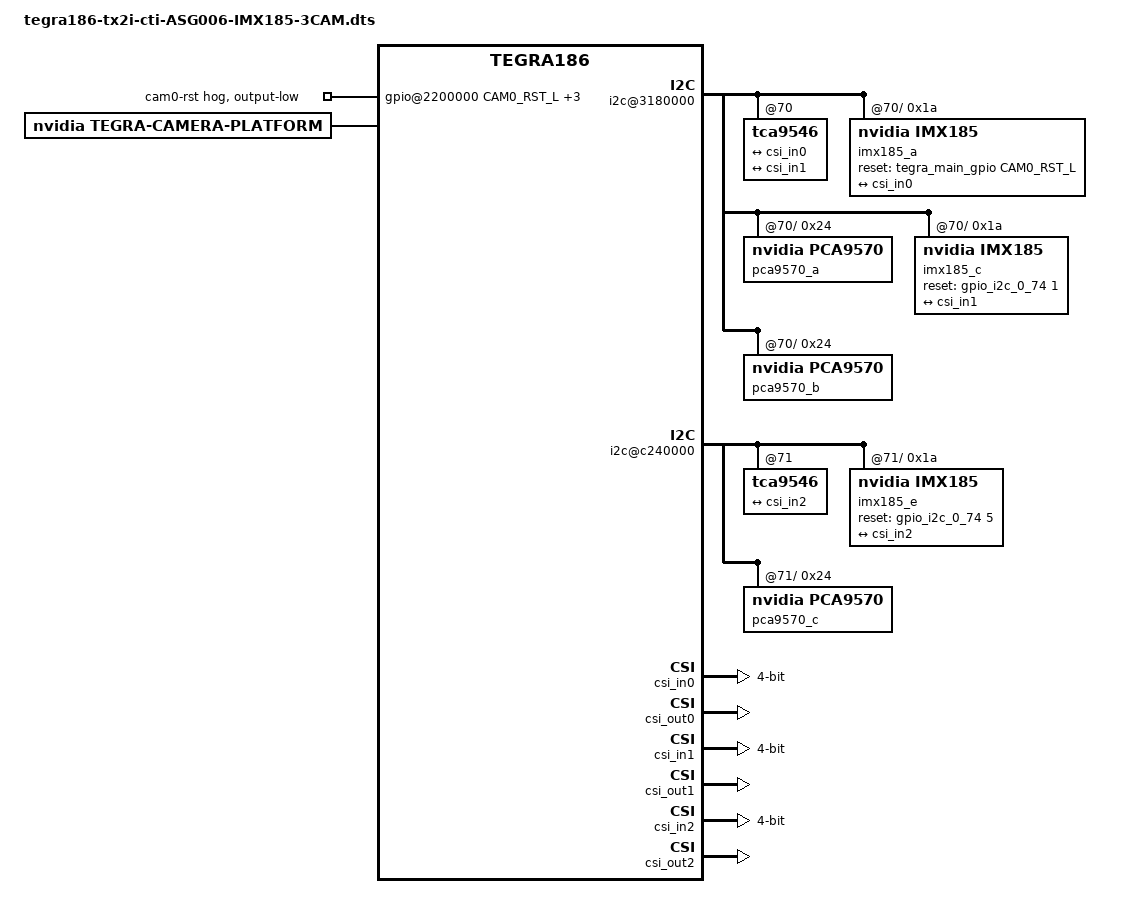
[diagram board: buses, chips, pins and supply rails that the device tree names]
#include <tegra186-tx2i-cti-ASG006-base.dts>

    

#include <t18x-common-platforms/tegra186-tx2-cti-camera-base.dtsi>
#include "dt-bindings/clock/tegra186-clock.h"


/* camera control gpio definitions */

#define CAM0_RST_L  TEGRA_MAIN_GPIO(R, 5)
#define CAM0_PWDN   TEGRA_MAIN_GPIO(R, 0)
#define CAM1_RST_L  TEGRA_MAIN_GPIO(R, 1)
#define CAM1_PWDN   TEGRA_MAIN_GPIO(N, 2)


/ {

    nvidia,dtsfilename = "tegra186-tx2i-cti-ASG006-IMX185-3CAM.dts";
    
    gpio@2200000 {
        camera-control-output-low {
            gpio-hog;
            output-low;
            gpios = <CAM0_RST_L 0 CAM0_PWDN 0
                 CAM1_RST_L 0 CAM1_PWDN 0>;
            label = "cam0-rst", "cam0-pwdn",
                "cam1-rst", "cam1-pwdn";
        };
    };


/**********************SENSORS******************************************************************/

	i2c@3180000 {       //set this to correct i2c bus 
        tca9546@70 {    
            i2c@0{  //cam_i2c/Mux@70/I2C_A
                #address-cells = <1>;
                #size-cells = <0>;

                imx185_a@1a {
                    compatible = "nvidia,imx185";
                    reg = <0x1a>;
                    devnode = "video0";

                    /* Physical dimensions of sensor */
                    physical_w = "15.0";
					physical_h = "12.5";
                    clocks = <&tegra_car TEGRA186_CLK_EXTPERIPH1>,
                             <&tegra_car TEGRA186_CLK_PLLP_OUT0>;
                    clock-names = "extperiph1", "pllp_grtba";
                    mclk = "extperiph1";
                    sensor_model = "imx185";
                    delayed_gain = "true";
                    reset-gpios = <&tegra_main_gpio CAM0_RST_L GPIO_ACTIVE_HIGH>;                    
					post_crop_frame_drop = "0";
                    use_decibel_gain = "true";
					
                    mode0 {/*mode IMX185_MODE_1920X1080_CROP_30FPS*/
						mclk_khz = "37125";
						num_lanes = "4";
						tegra_sinterface = "serial_a";
						phy_mode = "DPHY";
						discontinuous_clk = "no";
						dpcm_enable = "false";
						cil_settletime = "0";
						dynamic_pixel_bit_depth = "12";
						csi_pixel_bit_depth = "12";
						mode_type = "bayer";
						pixel_phase = "rggb";

						active_w = "1920";
						active_h = "1080";
						readout_orientation = "0";
						line_length = "2200";
						inherent_gain = "1";
						mclk_multiplier = "2";
						pix_clk_hz = "74250000";

						gain_factor = "10";
						min_gain_val = "0"; /* 0dB */
						max_gain_val = "480"; /* 48dB */
						step_gain_val = "3"; /* 0.3 */
						default_gain = "0";
						min_hdr_ratio = "1";
						max_hdr_ratio = "1";
						framerate_factor = "1000000";
						min_framerate = "1500000"; /* 1.5 */
						max_framerate = "30000000"; /* 30 */
						step_framerate = "1";
						default_framerate = "30000000";
						exposure_factor = "1000000";
						min_exp_time = "30"; /* us */
						max_exp_time = "660000"; /* us */
						step_exp_time = "1";
						default_exp_time = "33334";/* us */
						embedded_metadata_height = "1";
					};
					mode1 {/*mode IMX185_MODE_1920X1080_CROP_10BIT_30FPS*/
						mclk_khz = "37125";
						num_lanes = "4";
						tegra_sinterface = "serial_a";
						phy_mode = "DPHY";
						discontinuous_clk = "no";
						dpcm_enable = "false";
						cil_settletime = "0";
						dynamic_pixel_bit_depth = "10";
						csi_pixel_bit_depth = "10";
						mode_type = "bayer";
						pixel_phase = "rggb";

						active_w = "1920";
						active_h = "1080";
						readout_orientation = "0";
						line_length = "2640";
						inherent_gain = "1";
						mclk_multiplier = "2.4";
						pix_clk_hz = "89100000";

						gain_factor = "10";
						min_gain_val = "0"; /* 0dB */
						max_gain_val = "480"; /* 48dB */
						step_gain_val = "3"; /* 0.3 */
						default_gain ="0";
						min_hdr_ratio = "1";
						max_hdr_ratio = "1";
						framerate_factor = "1000000";
						min_framerate = "1500000"; /* 1.5 */
						max_framerate = "30000000"; /* 30 */
						step_framerate = "1";
						default_framerate = "30000000";
						exposure_factor = "1000000";
						min_exp_time = "30"; /* us */
						max_exp_time = "660000"; /* us */
						step_exp_time = "1";
						default_exp_time = "33334";/* us */
						embedded_metadata_height = "1";
					};

					mode2 {/*mode IMX185_MODE_1920X1080_CROP_60FPS*/
						mclk_khz = "37125";
						num_lanes = "4";
						tegra_sinterface = "serial_a";
						phy_mode = "DPHY";
						discontinuous_clk = "no";
						dpcm_enable = "false";
						cil_settletime = "0";
						dynamic_pixel_bit_depth = "12";
						csi_pixel_bit_depth = "12";
						mode_type = "bayer";
						pixel_phase = "rggb";

						active_w = "1920";
						active_h = "1080";
						readout_orientation = "0";
						line_length = "2200";
						inherent_gain = "1";
						mclk_multiplier = "4";
						pix_clk_hz = "148500000";

						gain_factor = "10";
						min_gain_val = "0"; /* 0dB */
						max_gain_val = "480"; /* 48dB */
						step_gain_val = "3"; /* 0.3 */
						default_gain = "0";
						min_hdr_ratio = "1";
						max_hdr_ratio = "1";
						framerate_factor = "1000000";
						min_framerate = "1500000"; /* 1.5 */
						max_framerate = "60000000"; /* 60 */
						step_framerate = "1";
						default_framerate = "60000000";
						exposure_factor = "1000000";
						min_exp_time = "30"; /* us */
						max_exp_time = "660000"; /* us */
						step_exp_time = "1";
						default_exp_time = "16667";/* us */
						embedded_metadata_height = "1";
					};

					mode3 {/*mode IMX185_MODE_1920X1080_CROP_10BIT_60FPS*/
						mclk_khz = "37125";
						num_lanes = "4";
						tegra_sinterface = "serial_a";
						phy_mode = "DPHY";
						discontinuous_clk = "no";
						dpcm_enable = "false";
						cil_settletime = "0";
						dynamic_pixel_bit_depth = "10";
						csi_pixel_bit_depth = "10";
						mode_type = "bayer";
						pixel_phase = "rggb";

						active_w = "1920";
						active_h = "1080";
						readout_orientation = "0";
						line_length = "2640";
						inherent_gain = "1";
						mclk_multiplier = "4.8";
						pix_clk_hz = "178200000";

						gain_factor = "10";
						min_gain_val = "0"; /* 0dB */
						max_gain_val = "480"; /* 48dB */
						step_gain_val = "3"; /* 0.3 */
						default_gain = "0";
						min_hdr_ratio = "1";
						max_hdr_ratio = "1";
						framerate_factor = "1000000";
						min_framerate = "1500000"; /* 1.5 */
						max_framerate = "60000000"; /* 60 */
						step_framerate = "1";
						default_framerate = "60000000";
						exposure_factor = "1000000";
						min_exp_time = "30"; /* us */
						max_exp_time = "660000"; /* us */
						step_exp_time = "1";
						default_exp_time = "16667";/* us */
						embedded_metadata_height = "1";
					};
					mode4 {/*mode IMX185_MODE_1920X1080_CROP_HDR_30FPS*/
						mclk_khz = "37125";
						num_lanes = "4";
						tegra_sinterface = "serial_a";
						phy_mode = "DPHY";
						discontinuous_clk = "no";
						dpcm_enable = "false";
						cil_settletime = "0";
						dynamic_pixel_bit_depth = "16";
						csi_pixel_bit_depth = "12";
						mode_type = "bayer_wdr_pwl";
						pixel_phase = "rggb";

						active_w = "1920";
						active_h = "1080";
						readout_orientation = "0";
						line_length = "2200";
						inherent_gain = "1";
						mclk_multiplier = "2";
						pix_clk_hz = "74250000";

						gain_factor = "10";
						min_gain_val = "0"; /* 0dB */
						max_gain_val = "120"; /* 12dB */
						step_gain_val = "3"; /* 0.3 */
						default_gain = "0";
						min_hdr_ratio = "16";
						max_hdr_ratio = "16";
						framerate_factor = "1000000";
						min_framerate = "1500000"; /* 1.5 */
						max_framerate = "30000000"; /* 30 */
						step_framerate = "1";
						default_framerate= "30000000";
						exposure_factor = "1000000";
						min_exp_time = "2433"; /* us */
						max_exp_time = "660000"; /* us */
						step_exp_time = "1";
						default_exp_time = "33334";/* us */
						embedded_metadata_height = "1";

						/* WDR related settings */
						num_control_point = "4";
						control_point_x_0 = "0";
						control_point_x_1 = "2048";
						control_point_x_2 = "16384";
						control_point_x_3 = "65536";
						control_point_y_0 = "0";
						control_point_y_1 = "2048";
						control_point_y_2 = "2944";
						control_point_y_3 = "3712";
					};                    

                    ports {
                        #address-cells = <1>;
                        #size-cells = <0>;

                        port@0 {
                            reg = <0>;
                            imx185_out0: endpoint {
                                port-index = <0>;
                                bus-width = <4>;
                                remote-endpoint = <&csi_in0>;
                            };
                        };
                    };
                };
                pca9570_a@24 {
                    compatible = "nvidia,pca9570";
                    reg = <0x24>;
                    channel = "a";
                    drive_ic= "DRV8838";
                };



            };
            i2c@2 {
                #address-cells = <1>;
                #size-cells = <0>;
                imx185_c@1a {
                    compatible = "nvidia,imx185";
                    reg = <0x1a>;
                    devnode = "video1";

                    /* Physical dimensions of sensor */
                    physical_w = "15.0";
					physical_h = "12.5";

                    /* Define any required hw resources needed by driver */
                    /* ie. clocks, io pins, power sources */
                    clocks = <&tegra_car TEGRA186_CLK_EXTPERIPH2>,
                         <&tegra_car TEGRA186_CLK_PLLP_OUT0>;
                    clock-names = "extperiph2", "pllp_grtba";
                    mclk = "extperiph2";
                    reset-gpios = <&gpio_i2c_0_74 1 GPIO_ACTIVE_HIGH>;                   
					post_crop_frame_drop = "0";
                    use_decibel_gain = "true";

                    mode0 {/*mode IMX185_MODE_1920X1080_CROP_30FPS*/
						mclk_khz = "37125";
						num_lanes = "4";
						tegra_sinterface = "serial_c";
						phy_mode = "DPHY";
						discontinuous_clk = "no";
						dpcm_enable = "false";
						cil_settletime = "0";
						dynamic_pixel_bit_depth = "12";
						csi_pixel_bit_depth = "12";
						mode_type = "bayer";
						pixel_phase = "rggb";

						active_w = "1920";
						active_h = "1080";
						readout_orientation = "0";
						line_length = "2200";
						inherent_gain = "1";
						mclk_multiplier = "2";
						pix_clk_hz = "74250000";

						gain_factor = "10";
						min_gain_val = "0"; /* 0dB */
						max_gain_val = "480"; /* 48dB */
						step_gain_val = "3"; /* 0.3 */
						default_gain = "0";
						min_hdr_ratio = "1";
						max_hdr_ratio = "1";
						framerate_factor = "1000000";
						min_framerate = "1500000"; /* 1.5 */
						max_framerate = "30000000"; /* 30 */
						step_framerate = "1";
						default_framerate = "30000000";
						exposure_factor = "1000000";
						min_exp_time = "30"; /* us */
						max_exp_time = "660000"; /* us */
						step_exp_time = "1";
						default_exp_time = "33334";/* us */
						embedded_metadata_height = "1";
					};
					mode1 {/*mode IMX185_MODE_1920X1080_CROP_10BIT_30FPS*/
						mclk_khz = "37125";
						num_lanes = "4";
						tegra_sinterface = "serial_c";
						phy_mode = "DPHY";
						discontinuous_clk = "no";
						dpcm_enable = "false";
						cil_settletime = "0";
						dynamic_pixel_bit_depth = "10";
						csi_pixel_bit_depth = "10";
						mode_type = "bayer";
						pixel_phase = "rggb";

						active_w = "1920";
						active_h = "1080";
						readout_orientation = "0";
						line_length = "2640";
						inherent_gain = "1";
						mclk_multiplier = "2.4";
						pix_clk_hz = "89100000";

						gain_factor = "10";
						min_gain_val = "0"; /* 0dB */
						max_gain_val = "480"; /* 48dB */
						step_gain_val = "3"; /* 0.3 */
						default_gain ="0";
						min_hdr_ratio = "1";
						max_hdr_ratio = "1";
						framerate_factor = "1000000";
						min_framerate = "1500000"; /* 1.5 */
						max_framerate = "30000000"; /* 30 */
						step_framerate = "1";
						default_framerate = "30000000";
						exposure_factor = "1000000";
						min_exp_time = "30"; /* us */
						max_exp_time = "660000"; /* us */
						step_exp_time = "1";
						default_exp_time = "33334";/* us */
						embedded_metadata_height = "1";
					};

					mode2 {/*mode IMX185_MODE_1920X1080_CROP_60FPS*/
						mclk_khz = "37125";
						num_lanes = "4";
						tegra_sinterface = "serial_c";
						phy_mode = "DPHY";
						discontinuous_clk = "no";
						dpcm_enable = "false";
						cil_settletime = "0";
						dynamic_pixel_bit_depth = "12";
						csi_pixel_bit_depth = "12";
						mode_type = "bayer";
						pixel_phase = "rggb";

						active_w = "1920";
						active_h = "1080";
						readout_orientation = "0";
						line_length = "2200";
						inherent_gain = "1";
						mclk_multiplier = "4";
						pix_clk_hz = "148500000";

						gain_factor = "10";
						min_gain_val = "0"; /* 0dB */
						max_gain_val = "480"; /* 48dB */
						step_gain_val = "3"; /* 0.3 */
						default_gain = "0";
						min_hdr_ratio = "1";
						max_hdr_ratio = "1";
						framerate_factor = "1000000";
						min_framerate = "1500000"; /* 1.5 */
						max_framerate = "60000000"; /* 60 */
						step_framerate = "1";
						default_framerate = "60000000";
						exposure_factor = "1000000";
						min_exp_time = "30"; /* us */
						max_exp_time = "660000"; /* us */
						step_exp_time = "1";
						default_exp_time = "16667";/* us */
						embedded_metadata_height = "1";
					};

					mode3 {/*mode IMX185_MODE_1920X1080_CROP_10BIT_60FPS*/
						mclk_khz = "37125";
						num_lanes = "4";
						tegra_sinterface = "serial_c";
						phy_mode = "DPHY";
						discontinuous_clk = "no";
						dpcm_enable = "false";
						cil_settletime = "0";
						dynamic_pixel_bit_depth = "10";
						csi_pixel_bit_depth = "10";
						mode_type = "bayer";
						pixel_phase = "rggb";

						active_w = "1920";
						active_h = "1080";
						readout_orientation = "0";
						line_length = "2640";
						inherent_gain = "1";
						mclk_multiplier = "4.8";
						pix_clk_hz = "178200000";

						gain_factor = "10";
						min_gain_val = "0"; /* 0dB */
						max_gain_val = "480"; /* 48dB */
						step_gain_val = "3"; /* 0.3 */
						default_gain = "0";
						min_hdr_ratio = "1";
						max_hdr_ratio = "1";
						framerate_factor = "1000000";
						min_framerate = "1500000"; /* 1.5 */
						max_framerate = "60000000"; /* 60 */
						step_framerate = "1";
						default_framerate = "60000000";
						exposure_factor = "1000000";
						min_exp_time = "30"; /* us */
						max_exp_time = "660000"; /* us */
						step_exp_time = "1";
						default_exp_time = "16667";/* us */
						embedded_metadata_height = "1";
					};
					mode4 {/*mode IMX185_MODE_1920X1080_CROP_HDR_30FPS*/
						mclk_khz = "37125";
						num_lanes = "4";
						tegra_sinterface = "serial_c";
						phy_mode = "DPHY";
						discontinuous_clk = "no";
						dpcm_enable = "false";
						cil_settletime = "0";
						dynamic_pixel_bit_depth = "16";
						csi_pixel_bit_depth = "12";
						mode_type = "bayer_wdr_pwl";
						pixel_phase = "rggb";

						active_w = "1920";
						active_h = "1080";
						readout_orientation = "0";
						line_length = "2200";
						inherent_gain = "1";
						mclk_multiplier = "2";
						pix_clk_hz = "74250000";

						gain_factor = "10";
						min_gain_val = "0"; /* 0dB */
						max_gain_val = "120"; /* 12dB */
						step_gain_val = "3"; /* 0.3 */
						default_gain = "0";
						min_hdr_ratio = "16";
						max_hdr_ratio = "16";
						framerate_factor = "1000000";
						min_framerate = "1500000"; /* 1.5 */
						max_framerate = "30000000"; /* 30 */
						step_framerate = "1";
						default_framerate= "30000000";
						exposure_factor = "1000000";
						min_exp_time = "2433"; /* us */
						max_exp_time = "660000"; /* us */
						step_exp_time = "1";
						default_exp_time = "33334";/* us */
						embedded_metadata_height = "1";

						/* WDR related settings */
						num_control_point = "4";
						control_point_x_0 = "0";
						control_point_x_1 = "2048";
						control_point_x_2 = "16384";
						control_point_x_3 = "65536";
						control_point_y_0 = "0";
						control_point_y_1 = "2048";
						control_point_y_2 = "2944";
						control_point_y_3 = "3712";
					};

                    
                    ports {
                        #address-cells = <1>;
                        #size-cells = <0>;

                        port@0 {
                            reg = <0>;
                            imx185_out2: endpoint {
                                port-index = <2>;
                                bus-width = <4>;
                                remote-endpoint = <&csi_in1>;
                            };
                        };
                    };
                };

                pca9570_b@24 {
                    compatible = "nvidia,pca9570";
                    reg = <0x24>;
                    channel = "b";
                    drive_ic= "DRV8838";
                };


            };
        };
	};
   i2c@c240000 {
        tca9546@71{
            i2c@1 {
                #address-cells = <1>;
                #size-cells = <0>;
                imx185_e@1a {
                    compatible = "nvidia,imx185";
                    reg = <0x1a>;
                    devnode = "video2";
                    /* Physical dimensions of sensor */

                    physical_w = "15.0";
					physical_h = "12.5";
                    /* Define any required hw resources needed by driver */
                    /* ie. clocks, io pins, power sources */
                    clocks = <&tegra_car TEGRA186_CLK_EXTPERIPH1>,
                             <&tegra_car TEGRA186_CLK_PLLP_OUT0>;
                    clock-names = "extperiph1", "pllp_grtba";
                    mclk = "extperiph1";
                    reset-gpios = <&gpio_i2c_0_74 5 GPIO_ACTIVE_HIGH>;
					post_crop_frame_drop = "0";
                    use_decibel_gain = "true";
                    

                    mode0 {/*mode IMX185_MODE_1920X1080_CROP_30FPS*/
						mclk_khz = "37125";
						num_lanes = "4";
						tegra_sinterface = "serial_e";
						phy_mode = "DPHY";
						discontinuous_clk = "no";
						dpcm_enable = "false";
						cil_settletime = "0";
						dynamic_pixel_bit_depth = "12";
						csi_pixel_bit_depth = "12";
						mode_type = "bayer";
						pixel_phase = "rggb";

						active_w = "1920";
						active_h = "1080";
						readout_orientation = "0";
						line_length = "2200";
						inherent_gain = "1";
						mclk_multiplier = "2";
						pix_clk_hz = "74250000";

						gain_factor = "10";
						min_gain_val = "0"; /* 0dB */
						max_gain_val = "480"; /* 48dB */
						step_gain_val = "3"; /* 0.3 */
						default_gain = "0";
						min_hdr_ratio = "1";
						max_hdr_ratio = "1";
						framerate_factor = "1000000";
						min_framerate = "1500000"; /* 1.5 */
						max_framerate = "30000000"; /* 30 */
						step_framerate = "1";
						default_framerate = "30000000";
						exposure_factor = "1000000";
						min_exp_time = "30"; /* us */
						max_exp_time = "660000"; /* us */
						step_exp_time = "1";
						default_exp_time = "33334";/* us */
						embedded_metadata_height = "1";
					};
					mode1 {/*mode IMX185_MODE_1920X1080_CROP_10BIT_30FPS*/
						mclk_khz = "37125";
						num_lanes = "4";
						tegra_sinterface = "serial_e";
						phy_mode = "DPHY";
						discontinuous_clk = "no";
						dpcm_enable = "false";
						cil_settletime = "0";
						dynamic_pixel_bit_depth = "10";
						csi_pixel_bit_depth = "10";
						mode_type = "bayer";
						pixel_phase = "rggb";

						active_w = "1920";
						active_h = "1080";
						readout_orientation = "0";
						line_length = "2640";
						inherent_gain = "1";
						mclk_multiplier = "2.4";
						pix_clk_hz = "89100000";

						gain_factor = "10";
						min_gain_val = "0"; /* 0dB */
						max_gain_val = "480"; /* 48dB */
						step_gain_val = "3"; /* 0.3 */
						default_gain ="0";
						min_hdr_ratio = "1";
						max_hdr_ratio = "1";
						framerate_factor = "1000000";
						min_framerate = "1500000"; /* 1.5 */
						max_framerate = "30000000"; /* 30 */
						step_framerate = "1";
						default_framerate = "30000000";
						exposure_factor = "1000000";
						min_exp_time = "30"; /* us */
						max_exp_time = "660000"; /* us */
						step_exp_time = "1";
						default_exp_time = "33334";/* us */
						embedded_metadata_height = "1";
					};

					mode2 {/*mode IMX185_MODE_1920X1080_CROP_60FPS*/
						mclk_khz = "37125";
						num_lanes = "4";
						tegra_sinterface = "serial_e";
						phy_mode = "DPHY";
						discontinuous_clk = "no";
						dpcm_enable = "false";
						cil_settletime = "0";
						dynamic_pixel_bit_depth = "12";
						csi_pixel_bit_depth = "12";
						mode_type = "bayer";
						pixel_phase = "rggb";

						active_w = "1920";
						active_h = "1080";
						readout_orientation = "0";
						line_length = "2200";
						inherent_gain = "1";
						mclk_multiplier = "4";
						pix_clk_hz = "148500000";

						gain_factor = "10";
						min_gain_val = "0"; /* 0dB */
						max_gain_val = "480"; /* 48dB */
						step_gain_val = "3"; /* 0.3 */
						default_gain = "0";
						min_hdr_ratio = "1";
						max_hdr_ratio = "1";
						framerate_factor = "1000000";
						min_framerate = "1500000"; /* 1.5 */
						max_framerate = "60000000"; /* 60 */
						step_framerate = "1";
						default_framerate = "60000000";
						exposure_factor = "1000000";
						min_exp_time = "30"; /* us */
						max_exp_time = "660000"; /* us */
						step_exp_time = "1";
						default_exp_time = "16667";/* us */
						embedded_metadata_height = "1";
					};

					mode3 {/*mode IMX185_MODE_1920X1080_CROP_10BIT_60FPS*/
						mclk_khz = "37125";
						num_lanes = "4";
						tegra_sinterface = "serial_e";
						phy_mode = "DPHY";
						discontinuous_clk = "no";
						dpcm_enable = "false";
						cil_settletime = "0";
						dynamic_pixel_bit_depth = "10";
						csi_pixel_bit_depth = "10";
						mode_type = "bayer";
						pixel_phase = "rggb";

						active_w = "1920";
						active_h = "1080";
						readout_orientation = "0";
						line_length = "2640";
						inherent_gain = "1";
						mclk_multiplier = "4.8";
						pix_clk_hz = "178200000";

						gain_factor = "10";
						min_gain_val = "0"; /* 0dB */
						max_gain_val = "480"; /* 48dB */
						step_gain_val = "3"; /* 0.3 */
						default_gain = "0";
						min_hdr_ratio = "1";
						max_hdr_ratio = "1";
						framerate_factor = "1000000";
						min_framerate = "1500000"; /* 1.5 */
						max_framerate = "60000000"; /* 60 */
						step_framerate = "1";
						default_framerate = "60000000";
						exposure_factor = "1000000";
						min_exp_time = "30"; /* us */
						max_exp_time = "660000"; /* us */
						step_exp_time = "1";
						default_exp_time = "16667";/* us */
						embedded_metadata_height = "1";
					};
					mode4 {/*mode IMX185_MODE_1920X1080_CROP_HDR_30FPS*/
						mclk_khz = "37125";
						num_lanes = "4";
						tegra_sinterface = "serial_e";
						phy_mode = "DPHY";
						discontinuous_clk = "no";
						dpcm_enable = "false";
						cil_settletime = "0";
						dynamic_pixel_bit_depth = "16";
						csi_pixel_bit_depth = "12";
						mode_type = "bayer_wdr_pwl";
						pixel_phase = "rggb";

						active_w = "1920";
						active_h = "1080";
						readout_orientation = "0";
						line_length = "2200";
						inherent_gain = "1";
						mclk_multiplier = "2";
						pix_clk_hz = "74250000";

						gain_factor = "10";
						min_gain_val = "0"; /* 0dB */
						max_gain_val = "120"; /* 12dB */
						step_gain_val = "3"; /* 0.3 */
						default_gain = "0";
						min_hdr_ratio = "16";
						max_hdr_ratio = "16";
						framerate_factor = "1000000";
						min_framerate = "1500000"; /* 1.5 */
						max_framerate = "30000000"; /* 30 */
						step_framerate = "1";
						default_framerate= "30000000";
						exposure_factor = "1000000";
						min_exp_time = "2433"; /* us */
						max_exp_time = "660000"; /* us */
						step_exp_time = "1";
						default_exp_time = "33334";/* us */
						embedded_metadata_height = "1";

						/* WDR related settings */
						num_control_point = "4";
						control_point_x_0 = "0";
						control_point_x_1 = "2048";
						control_point_x_2 = "16384";
						control_point_x_3 = "65536";
						control_point_y_0 = "0";
						control_point_y_1 = "2048";
						control_point_y_2 = "2944";
						control_point_y_3 = "3712";
					};
                    
                    ports {
                        #address-cells = <1>;
                        #size-cells = <0>;

                        port@0 {
                            reg = <0>;
                            imx185_out4: endpoint {
                                port-index = <4>;
                                bus-width = <4>;
                                remote-endpoint = <&csi_in2>;
                            };
                        };
                    }; 
                };
                
                pca9570_c@24 {
                    compatible = "nvidia,pca9570";
                    reg = <0x24>;
                    channel = "c";
                    drive_ic= "DRV8838";
                };

            };
        };
    };

/**********************VI******************************************************************/

     host1x {
        vi@15700000 {
            num-channels = <3>; //set number of channels
            status = "okay";
            ports {
				#address-cells = <1>;
				#size-cells = <0>;
                port@0 {
					reg = <0>;
                    status = "okay";
                    vi_in0: endpoint {
                        status = "okay";
                        port-index = <0>;
                        bus-width = <4>;
                        remote-endpoint = <&csi_out0>; 
                    };
                };

                port@1 {
					reg = <1>;
                    status = "okay";
                    vi_in1: endpoint {
                        status = "okay";
                        port-index = <2>;
                        bus-width = <4>;
                        remote-endpoint = <&csi_out1>; 
                    };
                };
                port@2 {
					reg = <2>;
                    status = "okay";
                    vi_in2: endpoint {
                        status = "okay";
                        port-index = <4>;
                        bus-width = <4>;
                        remote-endpoint = <&csi_out2>; 
                    };
                };
            };
        };

/**********************CSI******************************************************************/
        nvcsi@150c0000 {
            num-channels = <3>;
			#address-cells = <1>;
			#size-cells = <0>;
            channel@0 {
				reg = <0>;
                status = "okay";
                ports {
					#address-cells = <1>;
					#size-cells = <0>;
                     port@0 {
						reg = <0>;
                        status = "okay";
                        csi_in0: endpoint@0 {
                            port-index = <0>;
                            bus-width = <4>;
                            remote-endpoint = <&imx185_out0>; //should be sensor port under i2c endpoint
                            status = "okay";

                        };
                    };
                    port@1 {
						reg = <1>;
                        status = "okay";
                        csi_out0: endpoint@1 {
                            status = "okay";
                            remote-endpoint = <&vi_in0>; 
                        };
                    };
                };
            };

            channel@1 {
				reg = <1>;
                status = "okay";
                ports {
					#address-cells = <1>;
					#size-cells = <0>;
                    port@0 {
						reg = <0>;
                        status = "okay";
                        csi_in1: endpoint@2 {
                            port-index = <2>;
                            bus-width = <4>;
                            remote-endpoint = <&imx185_out2>; //should be sensor port under i2c endpoint
                            status = "okay";

                        };
                    };
                    port@1 {
						reg = <1>;
                        status = "okay";
                        csi_out1: endpoint@3 {
                            status = "okay";
                            remote-endpoint = <&vi_in1>; 
                        };
                    };
                };
            };
            channel@2 {
				reg = <2>;
                status = "okay";				
                ports {
					#address-cells = <1>;
					#size-cells = <0>;
                    port@0 {
						reg = <0>;
                        status = "okay";
                        csi_in2: endpoint@4 {
                            port-index = <4>;
                            bus-width = <4>;
                            remote-endpoint = <&imx185_out4>; //should be sensor port under i2c endpoint
                            status = "okay";
                        };
                    };
                    port@1 {
						reg = <1>;
                        status = "okay";
                        csi_out2: endpoint@5 {
                            status = "okay";
                            remote-endpoint = <&vi_in2>; 
                        };
                    };
                };
            };
        };
    };
    lens_imx185@A6V26 {
        min_focus_distance = "0.0";
        hyper_focal = "0.0";
        focal_length = "5.00";
        f_number = "2.0";
        aperture = "2.2";
    };

/**********************CAMERA PLATFORM*************************************************************/

    tegra-camera-platform {
        compatible = "nvidia, tegra-camera-platform";
        /**
        * Physical settings to calculate max ISO BW
        *
        * num_csi_lanes = <>;
        * Total number of CSI lanes when all cameras are active
        *
        * max_lane_speed = <>;
        * Max lane speed in Kbit/s
        *
        * min_bits_per_pixel = <>;
        * Min bits per pixel
        *
        * vi_peak_byte_per_pixel = <>;
        * Max byte per pixel for the VI ISO case
        *
        * vi_bw_margin_pct = <>;
        * Vi bandwidth margin in percentage
        *
        * max_pixel_rate = <>;
        * Max pixel rate in Kpixel/s for the ISP ISO case
        * Set this to the highest pix_clk_hz out of all available modes.
        *
        * isp_peak_byte_per_pixel = <>;
        * Max byte per pixel for the ISP ISO case
        *
        * isp_bw_margin_pct = <>;
        * Isp bandwidth margin in percentage
        */
        num_csi_lanes = <12>;
        max_lane_speed = <1500000>;
        min_bits_per_pixel = <10>;
        vi_peak_byte_per_pixel = <2>;
        vi_bw_margin_pct = <25>;
        max_pixel_rate = <750000>;
        isp_peak_byte_per_pixel = <5>;
        isp_bw_margin_pct = <25>;

        /**
        * The general guideline for naming badge_info contains 3 parts, and is as follows,
        * The first part is the camera_board_id for the module; if the module is in a FFD
        * platform, then use the platform name for this part.
        * The second part contains the position of the module, ex. “rear” or “front”.
        * The third part contains the last 6 characters of a part number which is found
        * in the module's specsheet from the vender.
        */
        modules {

            module0 {
                badge = "imx185_bottom_A6V26";
                position = "bottom";
                orientation = "0";
                status = "okay";
                drivernode0 {
                    status = "okay";
                    pcl_id = "v4l2_sensor";
                    devname = "imx185 30-001a";
                    proc-device-tree = "/proc/device-tree/i2c@3180000/tca9546@70/i2c@0/imx185_a@1a";
                };
                drivernode1 {
                    status = "okay";
                    pcl_id = "v4l2_lens";
                    proc-device-tree = "/proc/device-tree/lens_imx185@A6V26/";
                };
            };

            module1 {
                badge = "imx185_top_A6V26";
                position = "top";
                orientation = "0";
                status = "okay";
                drivernode0 {
                status = "okay";
                    pcl_id = "v4l2_sensor";
                    devname = "imx185 32-001a";
                    proc-device-tree = "/proc/device-tree/i2c@3180000/tca9546@70/i2c@2/imx185_c@1a";
                };
                drivernode1 {
                status = "okay";
                    pcl_id = "v4l2_lens";
                    proc-device-tree = "/proc/device-tree/lens_imx185@A6V26/";
                };
            };

            module2 {
                badge = "imx185_center_A6V26";
                position = "center";
                orientation = "0";
                status = "okay";
                drivernode0 {
                status = "okay";
                    pcl_id = "v4l2_sensor";
                    devname = "imx185 35-001a";
                    proc-device-tree = "/proc/device-tree/i2c@c240000/tca9546@71/i2c@1/imx185_e@1a";
                };
                drivernode1 {
                status = "okay";
                    pcl_id = "v4l2_lens";
                    proc-device-tree = "/proc/device-tree/lens_imx185@A6V26/";
                };
            };
        };
    };
};

